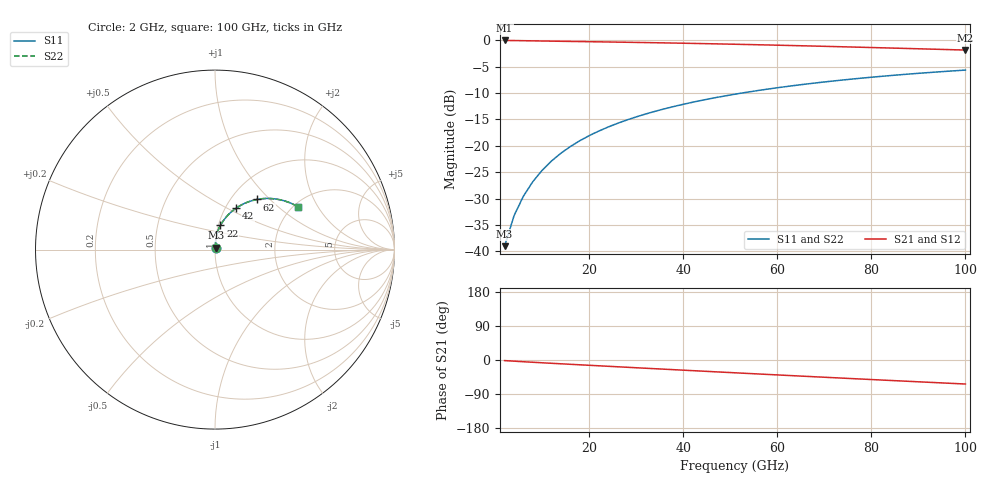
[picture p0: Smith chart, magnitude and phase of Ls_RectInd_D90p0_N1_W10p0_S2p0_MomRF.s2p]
! Created Thu Oct  1 20:14:39 2026
! List of port names and net name(s): example Port n = <port_name> <net_name1> <net_name2> ...
! Port 1 = P1 P1
! Port 2 = P2 P1
# hz S ma R 50
! Port[1]
! Port[2]
! 2 Port Network Data from data block
! freq  magS11  angS11  magS21  angS21  magS12  angS12  magS22  angS22
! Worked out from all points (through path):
!   50 points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, 2 GHz to 100 GHz, reference 50 ohm
!   highest |S21| = -0.04 dB at 2 GHz (marker M1); lowest = -1.9 dB at 100 GHz (marker M2)
!   group delay of S21, straight-line fit = 1.74 ps
!   lowest |S11| = -39.0 dB at 2 GHz (marker M3), VSWR 1.02, Z = 50.4 + j1.06 ohm
!   |S11| at or under -10 dB: start of sweep to 52.51 GHz
!   |S22| runs from -39.0 to -5.7 dB; largest |S21 - S12| = 0
!   S11 on the Smith chart (normalised r, x): 2 GHz: 1.01, +0.02; 22 GHz: 1.02, +0.28; 42 GHz: 1.12, +0.55; 62 GHz: 1.30, +0.84; 100 GHz: 2.12, +1.38
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2e9  0.0112 70.6  0.9953 -1.6  0.9953 -1.6  0.0112 70.6
4e9  0.02174 81.0  0.9929 -3.1  0.9929 -3.1  0.02174 81.0
6e9  0.03332 84.6  0.99 -4.6  0.99 -4.6  0.03332 84.6
8e9  0.04574 85.7  0.9867 -6.0  0.9867 -6.0  0.04574 85.7
1e10  0.0587 85.5  0.9835 -7.4  0.9835 -7.4  0.0587 85.4
1.2e10  0.07193 84.6  0.9804 -8.7  0.9804 -8.7  0.07193 84.6
1.4e10  0.08525 83.3  0.9774 -10.0  0.9774 -10.0  0.08524 83.3
1.6e10  0.09854 81.9  0.9744 -11.4  0.9744 -11.4  0.09853 81.9
2e10  0.1248 78.9  0.9686 -14.0  0.9686 -14.0  0.1248 78.9
2.2e10  0.1377 77.4  0.9657 -15.3  0.9657 -15.3  0.1377 77.4
2.4e10  0.1505 75.9  0.9628 -16.6  0.9628 -16.6  0.1505 75.9
2.8e10  0.1756 72.9  0.9567 -19.2  0.9567 -19.2  0.1756 72.9
3.2e10  0.2001 70.0  0.9504 -21.7  0.9504 -21.7  0.2001 70.0
3.6e10  0.224 67.2  0.9438 -24.3  0.9438 -24.3  0.224 67.2
4.2e10  0.2587 63.1  0.9332 -28.1  0.9332 -28.1  0.2587 63.0
5.2e10  0.3136 56.4  0.9141 -34.4  0.9141 -34.4  0.3135 56.4
6.2e10  0.3646 50.0  0.8933 -40.6  0.8933 -40.6  0.3645 50.0
6.8e10  0.3932 46.3  0.8802 -44.3  0.8802 -44.3  0.3932 46.3
7.6e10  0.4292 41.4  0.8622 -49.1  0.8622 -49.1  0.4292 41.4
8.4e10  0.4626 36.6  0.8439 -53.9  0.8439 -53.9  0.4625 36.5
9.2e10  0.4933 31.8  0.8255 -58.7  0.8255 -58.7  0.4933 31.8
1e11  0.5214 27.1  0.8072 -63.4  0.8072 -63.4  0.5214 27.1
